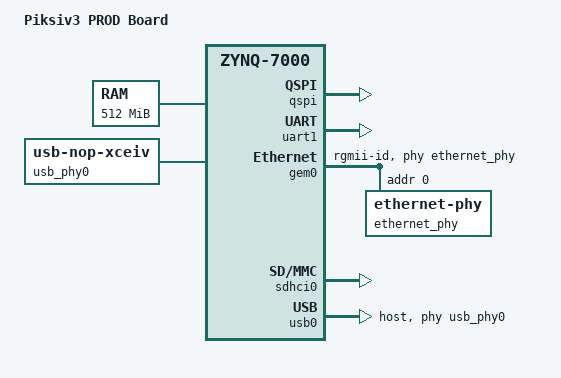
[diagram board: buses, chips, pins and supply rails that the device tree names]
/*
 * Piksiv3 PROD board DTS
 *
 * Copyright (C) 2013 - 2016 Xilinx, Inc.
 *
 * SPDX-License-Identifier:	GPL-2.0+
 */
/dts-v1/;
#include "zynq-7000.dtsi"

/ {
	model = "Piksiv3 PROD Board";
	compatible = "xlnx,zynq-piksiv3-prod", "xlnx,zynq-7000";

	aliases {
		serial0 = &uart1;
		spi0 = &qspi;
		mmc0 = &sdhci0;
	};

	memory {
		device_type = "memory";
		reg = <0 0x20000000>;
	};

	chosen {
		bootargs = "earlyprintk";
		stdout-path = "serial0:115200n8";
	};

	usb_phy0: phy0 {
		compatible = "usb-nop-xceiv";
		#phy-cells = <0>;
	};
};

&clkc {
	ps-clk-frequency = <33333333>;
};

&qspi {
	status = "okay";
	spi-max-frequency = <142857132>;
};

&uart1 {
	u-boot,dm-pre-reloc;
	status = "okay";
};

&gem0 {
	status = "okay";
	phy-mode = "rgmii-id";
	phy-handle = <&ethernet_phy>;

	ethernet_phy: ethernet-phy@0 {
		reg = <0>;
	};
};

&sdhci0 {
	u-boot,dm-pre-reloc;
	status = "okay";
};

&usb0 {
	status = "okay";
	dr_mode = "host";
	usb-phy = <&usb_phy0>;
};
